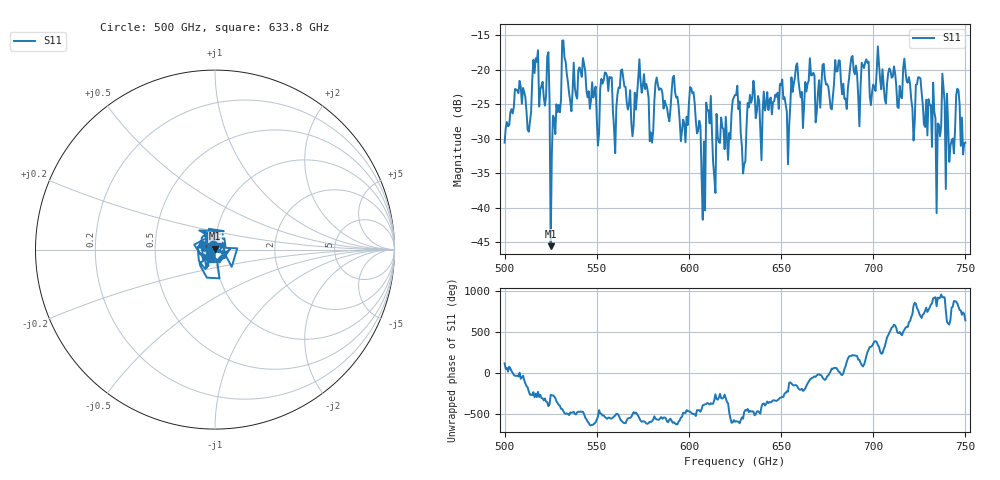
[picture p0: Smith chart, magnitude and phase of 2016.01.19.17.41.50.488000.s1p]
!Created with skrf (http://scikit-rf.org).
# GHz S RI R 50.0
!freq ReS11 ImS11
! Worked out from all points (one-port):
!   401 points, 500 GHz to 750 GHz, reference 50 ohm
!   lowest |S11| = -45.6 dB at 525 GHz (marker M1), VSWR 1.01, Z = 50 + j0.526 ohm
!   |S11| at or under -10 dB: start of sweep to end of sweep
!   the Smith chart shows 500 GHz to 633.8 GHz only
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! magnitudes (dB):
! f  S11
! 500 GHz  -30.6
! 506.9 GHz  -23.0
! 513.1 GHz  -29.0
! 516.9 GHz  -18.4
! 523.1 GHz  -18.1
! 525 GHz  -45.6
! 531.2 GHz  -15.8
! 550 GHz  -27.0
! 562.5 GHz  -22.7
! 570 GHz  -28.1
! 574.4 GHz  -23.3
! 580 GHz  -30.6
! 583.1 GHz  -22.1
! 593.8 GHz  -23.9
! 601.9 GHz  -23.4
! 607.5 GHz  -41.7
! 610.6 GHz  -25.9
! 614.4 GHz  -37.9
! 625 GHz  -23.7
! 629.4 GHz  -35.0
! 634.4 GHz  -24.1
! 653.8 GHz  -33.7
! 656.2 GHz  -23.2
! 687.5 GHz  -19.6
! 718.8 GHz  -21.9
! 735.6 GHz  -28.0
! 745.6 GHz  -22.8
! 750 GHz  -30.6
